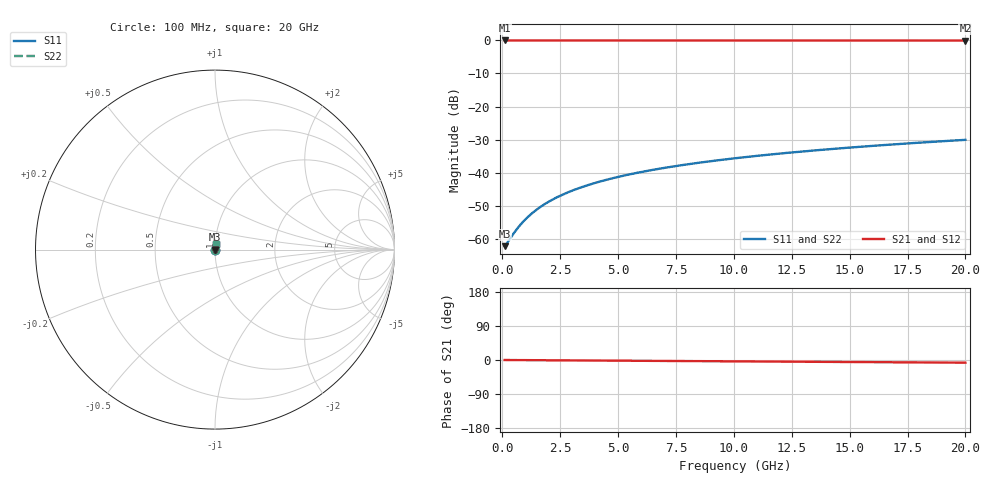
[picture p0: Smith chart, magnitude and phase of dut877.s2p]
! Touchstone file exported from HFSS 2026.1.0
!  File:  C:/ffzhzh/LocalFiles/Ansys_Project_Files/temp_train_TSV_877_1783185649_22436.aedt
!  Generated:  01:22:27 AM Jul  5, 2026
!  Design:  TSV
!  Project:  temp_train_TSV_877_1783185649_22436
! Variables:
!  h_bsmrdl = 2um
!  h_ox = 20um
!  h_rdl = 5um
!  h_sub = 72.31um
!  h_tmrdl = 5um
!  h_tsv = 72.31um
!  h_via = 3um
!  l_bsmrdl = 300um
!  l_sub = 406.8um
!  l_tmrdl = 200um
!  m_sub = 200um
!  pitch = 19.9um
!  r_tsv = 3.4um
!  s_tmrdl = 10um
!  w_bsmrdl = 18um
!  w_sub = 500um
!  w_tmrdl = 12um
!  x_tsv_center1 = 206um
!  x_tsv_center2 = 524um
!  x_tsv_center3 = 736um
!  x_tsv_center4 = 1054um
!  x_tsv_center5 = 1266um
!  x_tsv_center6 = 1584um
# GHz S MA R 50.000000
! Terminal data exported
! Port[1] = TSV1_1_T1
! Port[2] = TSV1_1_T2
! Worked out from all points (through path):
!   200 points, 100 MHz to 20 GHz, reference 50 ohm
!   highest |S21| = -0.01 dB at 100 MHz (marker M1); lowest = 0.0 dB at 20 GHz (marker M2)
!   lowest |S11| = -62.3 dB at 100 MHz (marker M3), VSWR 1.00, Z = 50.1 + j0.0195 ohm
!   |S11| at or under -10 dB: start of sweep to end of sweep
!   |S22| runs from -62.3 to -30.1 dB; largest |S21 - S12| = 3e-15
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0.1  0.0007708 14.6  0.9993 -0.0  0.9993 -0.0  0.0007708 14.6
! Gamma 0 0 0 0
! Port Impedance 50 0 50 0
0.2  0.0008502 26.8  0.9992 -0.1  0.9992 -0.1  0.0008502 26.8
0.4  0.001081 43.2  0.9992 -0.1  0.9992 -0.1  0.001081 43.2
0.6  0.001355 53.2  0.9992 -0.2  0.9992 -0.2  0.001355 53.2
0.8  0.001652 59.9  0.9992 -0.3  0.9992 -0.3  0.001652 59.9
1.1  0.002125 66.3  0.9992 -0.4  0.9992 -0.4  0.002125 66.3
1.3  0.002451 69.1  0.9991 -0.5  0.9991 -0.5  0.002451 69.1
1.5  0.002782 71.2  0.9991 -0.5  0.9991 -0.5  0.002782 71.2
1.9  0.003452 74.1  0.9991 -0.7  0.9991 -0.7  0.003452 74.1
2.4  0.004295 76.3  0.999 -0.9  0.999 -0.9  0.004295 76.3
2.9  0.005137 77.6  0.999 -1.1  0.999 -1.1  0.005137 77.6
3.5  0.006141 78.5  0.9989 -1.3  0.9989 -1.3  0.006141 78.5
4.2  0.007301 79.1  0.9988 -1.5  0.9988 -1.5  0.007301 79.1
5  0.008607 79.4  0.9987 -1.8  0.9987 -1.8  0.008607 79.4
5.9  0.01005 79.6  0.9985 -2.1  0.9985 -2.1  0.01005 79.6
6.8  0.01148 79.7  0.9984 -2.4  0.9984 -2.4  0.01148 79.7
8.3  0.01381 79.6  0.9981 -3.0  0.9981 -3.0  0.01381 79.6
10.1  0.01656 79.4  0.9979 -3.6  0.9979 -3.6  0.01656 79.4
11.7  0.01898 79.3  0.9976 -4.2  0.9976 -4.2  0.01898 79.3
13.4  0.02153 79.0  0.9974 -4.8  0.9974 -4.8  0.02153 79.0
16.7  0.02645 78.4  0.997 -5.9  0.997 -5.9  0.02645 78.4
20  0.03133 77.7  0.9966 -7.1  0.9966 -7.1  0.03132 77.7
